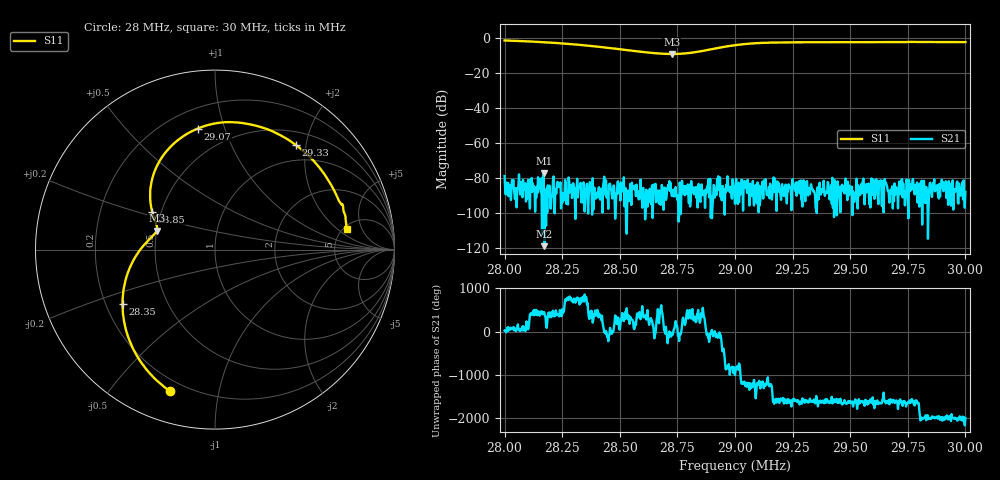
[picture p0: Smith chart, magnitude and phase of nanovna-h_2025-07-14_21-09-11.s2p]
! NanoVNA-App by OneOfEleven et al v1.1.209 (+OD18)
! Date: 2025-07-14 21:09:12
! Start: 28MHz Stop: 30MHz Points: 801
! S-Parameter data: F S11 S21 S12 S22
# Hz S RI R 50
!  Frequency  S11_Real  S11_Imag  S21_Real  S21_Imag  S12_Real  S12_Imag  S22_Real  S22_Imag
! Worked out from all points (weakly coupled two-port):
!   801 points, 28 MHz to 30 MHz, reference 50 ohm
!   highest |S21| = -77.04 dB at 28.17 MHz (marker M1); lowest = -118.8 dB at 28.17 MHz (marker M2)
!   lowest |S11| = -9.3 dB at 28.73 MHz (marker M3), VSWR 2.04, Z = 25 + j6 ohm
!   |S11| at or under -10 dB: nowhere
!   S12 and S22 are empty: the file has one direction only
!   S11 on the Smith chart (normalised r, x): 28 MHz: 0.14, -0.72; 28.35 MHz: 0.27, -0.25; 28.85 MHz: 0.45, +0.23; 29.07 MHz: 0.32, +0.81; 29.33 MHz: 0.71, +1.82; 30 MHz: 5.36, +2.73
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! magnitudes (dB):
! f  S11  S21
! 28 MHz  -1.6  -78.8
! 28.01 MHz  -1.7  -89.2
! 28.05 MHz  -1.9  -96.6
! 28.16 MHz  -2.5  -87.9
! 28.16 MHz  -2.6  -84.7
! 28.17 MHz  -2.6  -77.0
! 28.17 MHz  -2.6  -118.8
! 28.18 MHz  -2.7  -107.1
! 28.18 MHz  -2.7  -86.0
! 28.34 MHz  -4.3  -87.6
! 28.35 MHz  -4.5  -86.6
! 28.67 MHz  -9.0  -87.1
! 28.73 MHz  -9.3  -90.1
! 28.79 MHz  -9.0  -87.0
! 28.85 MHz  -7.8  -88.8
! 29 MHz  -4.3  -94.6
! 29.07 MHz  -3.3  -86.3
! 29.16 MHz  -2.9  -84.9
! 29.33 MHz  -2.7  -85.2
! 29.34 MHz  -2.7  -86.2
! 29.67 MHz  -2.6  -88.8
! 30 MHz  -2.6  -87.9
